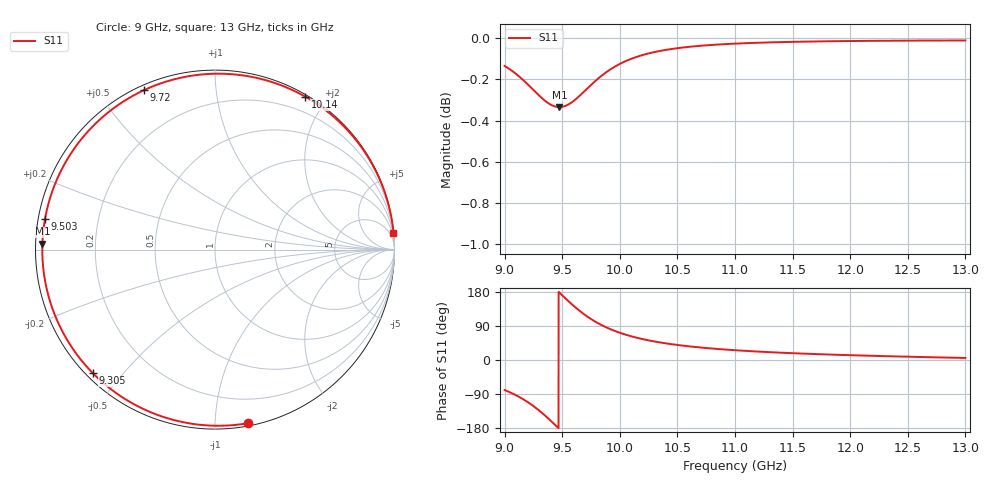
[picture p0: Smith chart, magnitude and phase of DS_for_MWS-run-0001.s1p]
! TOUCHSTONE file generated by CST DESIGN STUDIO
! Date and time: Tue Feb  4 13:45:07 2025
! Project name: C:\Work\MatlabApps\UnitCellOptimizationMatlab\CST\unitcell.cst
! Tree item: Tasks\Sweep1\SPara1\S-Parameters
! Header version: 2024
! Port assignment regex: !\s*Touchstone port\s*([0-9]+)\s*=\s*(CST MWS port|CST DES external port|CST DES block port)\s*(.+)\s* \(\"(.*)\"\)(\s*mode\s*([0-9]+))?.*
! Touchstone port assignment:
! Touchstone port 1 = CST DES external port 1 ("")
# GHz S MA R 50
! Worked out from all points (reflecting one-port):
!   4001 points, 9 GHz to 13 GHz, reference 50 ohm
!   lowest |S11| = -0.3 dB at 9.475 GHz (marker M1), VSWR 51.96, Z = 0.963 + j0.864 ohm
!   phase of S11 starts at -79 deg and turns -275 deg over the sweep
!   S11 on the Smith chart (normalised r, x): 9 GHz: 0.02, -1.21; 9.305 GHz: 0.02, -0.42; 9.503 GHz: 0.02, +0.09; 9.72 GHz: 0.02, +0.65; 10.14 GHz: 0.02, +1.75; 13 GHz: 0, +21
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9  0.9847 -79.3
9.075  0.9814 -89.3
9.173  0.9762 -105.7
9.241  0.9721 -119.5
9.305  0.9681 -134.6
9.35  0.9657 -146.3
9.397  0.9636 -159.3
9.437  0.9626 -170.8
9.475  0.9622 178.0
9.5  0.9624 170.7
9.503  0.9624 169.8
9.555  0.9637 154.9
9.615  0.9663 138.7
9.667  0.9693 125.9
9.72  0.9725 114.2
9.776  0.9757 103.2
9.838  0.9791 92.7
9.918  0.9827 81.4
10  0.9858 71.8
10.139  0.9895 59.4
10.302  0.9923 48.8
10.5  0.9945 39.7
10.722  0.9959 32.4
11  0.997 25.8
11.5  0.998 17.9
12  0.9985 12.7
12.5  0.9987 8.7
13  0.9988 5.3
